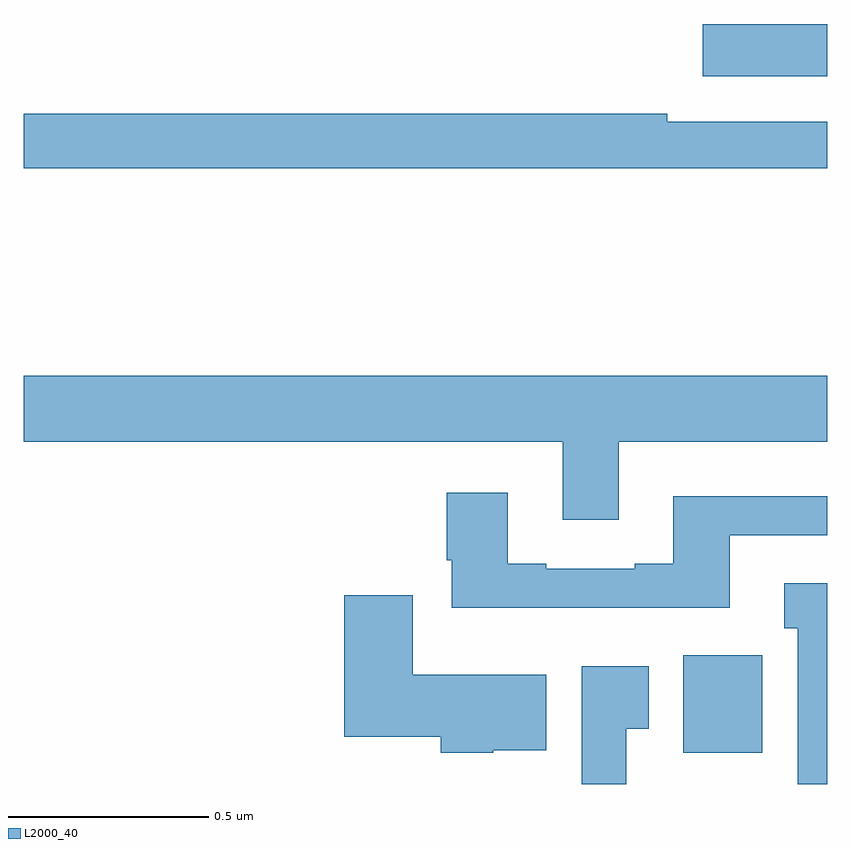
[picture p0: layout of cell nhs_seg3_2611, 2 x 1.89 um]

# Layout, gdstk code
import gdstk
lib = gdstk.Library(unit=1e-6, precision=1e-09)
def R(c, l, rs):  # rectangles x0, y0, x1, y1
    for r in rs: c.add(gdstk.rectangle(r[:2], r[2:], *l))
def P(c, l, *ps):  # polygons
    for p in ps: c.add(gdstk.Polygon(p, *l))
L2000_40 = (2000, 40)

nhs_seg3_2611 = lib.new_cell('nhs_seg3_2611')
R(nhs_seg3_2611, L2000_40, [(144.641,697.478,144.838,697.72), (144.69,699.161,145,699.291)])
P(nhs_seg3_2611, L2000_40, [(145,699.048),(144.602,699.048),(144.602,699.068),(143,699.068),(143,698.932),(145,698.932)],
  [(144.481,698.252),(145,698.252),(145,698.416),(143,698.416),(143,698.252),(144.341,698.252),(144.341,698.058),(144.481,698.058)],
  [(144.757,698.019),(145,698.019),(145,698.116),(144.617,698.116),(144.617,697.948),(144.521,697.948),(144.521,697.935),(144.301,697.935),(144.301,697.948),(144.205,697.948),(144.205,698.125),(144.053,698.125),(144.053,697.957),(144.065,697.957),(144.065,697.838),(144.757,697.838)],
  [(145,697.9),(144.893,697.9),(144.893,697.787),(144.926,697.787),(144.926,697.4),(145,697.4)],
  [(144.168,697.484),(144.301,697.484),(144.301,697.672),(143.968,697.672),(143.968,697.87),(143.798,697.87),(143.798,697.517),(144.038,697.517),(144.038,697.478),(144.168,697.478)],
  [(144.499,697.537),(144.556,697.537),(144.556,697.693),(144.389,697.693),(144.389,697.4),(144.499,697.4)])

lib.write_gds('nhs_seg3_2611.gds')
